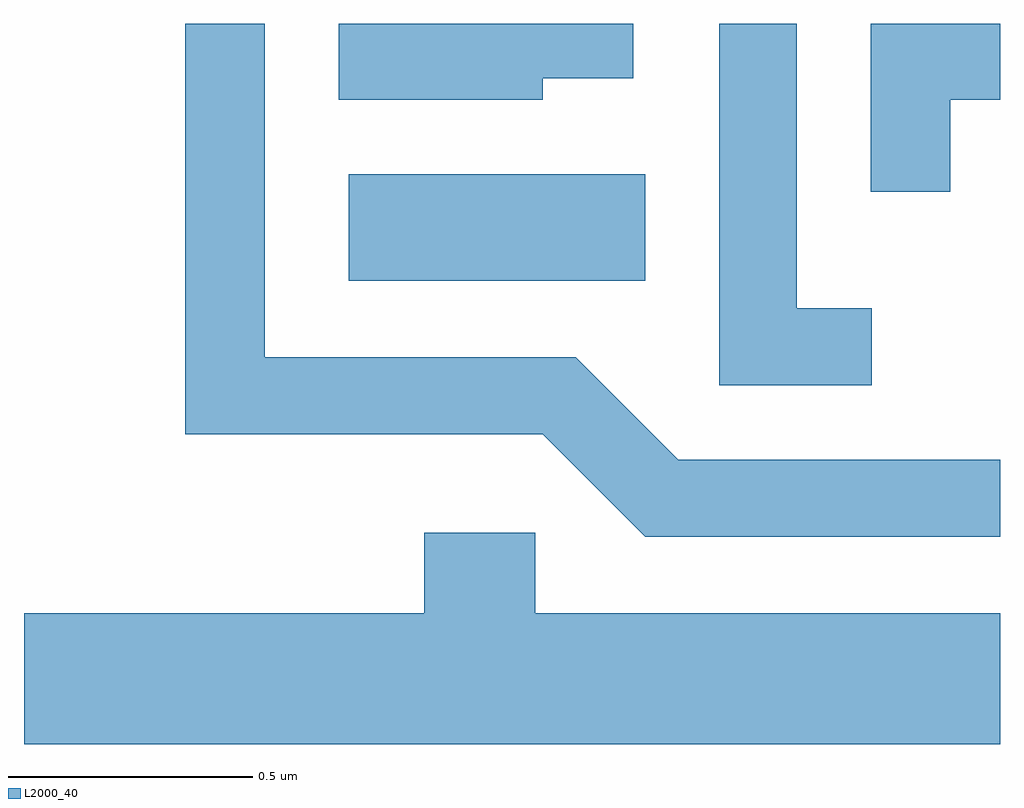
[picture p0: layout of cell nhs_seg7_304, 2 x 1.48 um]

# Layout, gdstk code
import gdstk
lib = gdstk.Library(unit=1e-6, precision=1e-09)
def R(c, l, rs):  # rectangles x0, y0, x1, y1
    for r in rs: c.add(gdstk.rectangle(r[:2], r[2:], *l))
def P(c, l, *ps):  # polygons
    for p in ps: c.add(gdstk.Polygon(p, *l))
L2000_40 = (2000, 40)

nhs_seg7_304 = lib.new_cell('nhs_seg7_304')
R(nhs_seg7_304, L2000_40, [(188.276,1699.726,188.884,1699.944)])
P(nhs_seg7_304, L2000_40, [(189.611,1699.359),(188.952,1699.359),(188.742,1699.569),(188.104,1699.569),(188.104,1700.252),(187.941,1700.252),(187.941,1699.411),(188.674,1699.411),(188.884,1699.201),(189.611,1699.201)],
  [(189.348,1699.669),(189.194,1699.669),(189.194,1700.252),(189.036,1700.252),(189.036,1699.511),(189.348,1699.511)],
  [(188.674,1700.141),(188.859,1700.141),(188.859,1700.252),(188.256,1700.252),(188.256,1700.096),(188.674,1700.096)],
  [(189.509,1700.096),(189.611,1700.096),(189.611,1700.252),(189.346,1700.252),(189.346,1699.908),(189.509,1699.908)],
  [(189.611,1699.044),(188.659,1699.044),(188.659,1699.209),(188.431,1699.209),(188.431,1699.044),(187.611,1699.044),(187.611,1698.776),(189.611,1698.776)])

lib.write_gds('nhs_seg7_304.gds')
